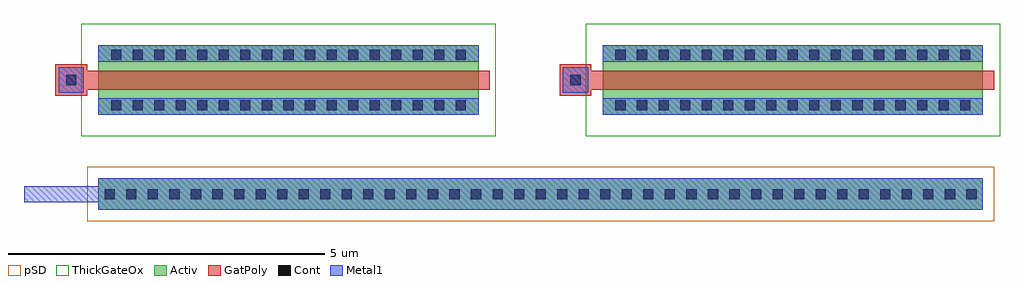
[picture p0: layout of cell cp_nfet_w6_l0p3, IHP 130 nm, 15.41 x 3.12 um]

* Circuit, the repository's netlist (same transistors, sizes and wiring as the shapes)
* extracted by klt extract --deck sg13cmos5l

* cell cp_nfet_w6_l0p3
* pin vsubs
.SUBCKT cp_nfet_w6_l0p3 vsubs
* device instance $1 r0 *1 4.3,3.01 nfet
X$1 \$6 \$2 \$3 vsubs sg13_hv_nmos L=0.3U W=6U AS=2.4P AD=2.4P PS=12.8U PD=12.8U
* device instance $2 r0 *1 12.26,3.01 nfet
X$2 \$7 \$4 \$5 vsubs sg13_hv_nmos L=0.3U W=6U AS=2.4P AD=2.4P PS=12.8U PD=12.8U
.ENDS cp_nfet_w6_l0p3

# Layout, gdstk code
import gdstk
lib = gdstk.Library(unit=1e-6, precision=1e-09)
def R(c, l, rs):  # rectangles x0, y0, x1, y1
    for r in rs: c.add(gdstk.rectangle(r[:2], r[2:], *l))
def A(c, l, x, y, w, h, nx, ny, dx, dy):  # array of equal rectangles
    R(c, l, [(x+i*dx, y+j*dy, x+i*dx+w, y+j*dy+h) for i in range(nx) for j in range(ny)])
Activ = (1, 0)
GatPoly = (5, 0)
Cont = (6, 0)
Metal1 = (8, 0)
pSD = (14, 0)
ThickGateOx = (44, 0)

cp_nfet_w6_l0p3 = lib.new_cell('cp_nfet_w6_l0p3')
R(cp_nfet_w6_l0p3, Activ, [(1.3,0.96,15.26,1.46), (1.3,2.46,7.3,3.56), (9.26,2.46,15.26,3.56)])
R(cp_nfet_w6_l0p3, GatPoly, [(0.62,2.76,1.12,3.26), (8.58,2.76,9.08,3.26), (1.12,2.86,7.48,3.16), (9.08,2.86,15.44,3.16)])
A(cp_nfet_w6_l0p3, Cont, 1.4, 1.13, 0.16, 0.16, 41, 1, 0.34, 0)
A(cp_nfet_w6_l0p3, Cont, 1.5, 2.53, 0.16, 0.16, 17, 2, 0.34, 0.8)
A(cp_nfet_w6_l0p3, Cont, 9.46, 2.53, 0.16, 0.16, 17, 2, 0.34, 0.8)
R(cp_nfet_w6_l0p3, Cont, [(0.79,2.93,0.95,3.09), (8.75,2.93,8.91,3.09)])
R(cp_nfet_w6_l0p3, Metal1, [(1.3,0.96,15.26,1.46), (0.125,1.085,1.3,1.335), (1.3,2.46,7.3,2.72), (9.26,2.46,15.26,2.72), (0.67,2.81,1.07,3.21), (8.63,2.81,9.03,3.21), (1.3,3.3,7.3,3.56), (9.26,3.3,15.26,3.56)])
R(cp_nfet_w6_l0p3, pSD, [(1.12,0.78,15.44,1.64)])
R(cp_nfet_w6_l0p3, ThickGateOx, [(1.03,2.12,7.57,3.9), (8.99,2.12,15.53,3.9)])

lib.write_gds('cp_nfet_w6_l0p3.gds')
